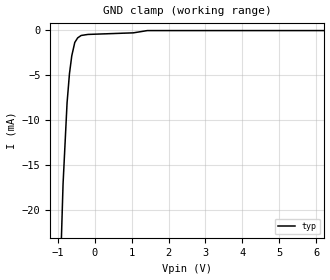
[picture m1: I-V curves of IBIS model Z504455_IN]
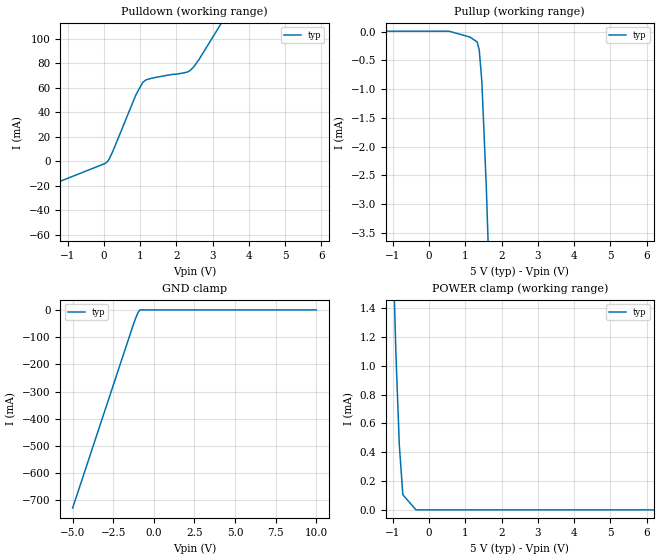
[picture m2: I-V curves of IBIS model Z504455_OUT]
| YOU ARE ONLY AUTHORIZED TO USE THIS SOFTWARE
| ACCORDING TO LICENSOR'S LICENSE RESTRICTIONS.
[IBIS Ver] 3.1
[File Name] sn54ls393j.ibs
[File Rev] 2.0
[Source] Measured and created by ICX Technology
[Date] Friday 7/14/00 9:08:15 AM
[Copyright]
| (C) COPYRIGHT 1993-2000
| MENTOR GRAPHICS CORPORATION
| ICX STANDARD LIBRARY, ICX PROJECT MODELING,
| ICX CUSTOM MODELING, ICX VENDOR MODEL
| ALL RIGHTS RESERVED.
| THE FOLLOWING ARE TRADEMARKS OR SERVICE MARKS OF
| MENTOR GRAPHICS CORPORATION:ICX (R), ICX STANDARD
| LIBRARY(R), ICX PROJECT MODELING(R), ICX CUSTOM
| MODELING(R), qualityIBIS(TM), MODELVIEWER(TM),
| AND MODELEDITOR(TM)
| ALL COPIES OF SOFTWARE, INCLUDING BUT NOT LIMITED TO
| ANY MODIFICATIONS, ENHANCEMENTS OR DERIVATIVE WORKS,
| MUST CONTAIN ALL MENTOR GRAPHICS CORPORATION'S
| NOTICES AND LEGENDS, INCLUDING THOSE EMBEDDED IN
| SOFTWARE AND THOSE AFFIXED TO SOFTWARE MEDIUM
| AND CONTAINER, AS RECEIVED FROM MENTOR GRAPHICS
| CORPORATION.
|  ZAP Model Builder 2.7
[Component] SN54LS393J
[Manufacturer] OnSemiconductor
[Package]
| variable   typ   min   max
R_pkg  .21ohms NA NA
L_pkg  4.543nH NA NA
C_pkg  1.8pF NA NA
[Pin] signal_name  model_name  R_pin  L_pin C_pin
1 _CLKA Z504455_IN .22 6.757n 2.434p
2 CLR Z504455_IN .212 4.757n 1.941p
3 QA Z504455_OUT .204 3.257n 1.448p
4 QB Z504455_OUT .196 2.257n .955p
5 QC Z504455_OUT .204 3.257n 1.448p
6 QD Z504455_OUT .212 4.757n 1.941p
7 GND GND .22 6.757n 2.434p
8 QD Z504455_OUT .22 6.757n 2.434p
9 QC Z504455_OUT .212 4.757n 1.941p
10 QB Z504455_OUT .204 3.257n 1.448p
11 QA Z504455_OUT .196 2.257n .955p
12 CLR Z504455_IN .204 3.257n 1.448p
13 _CLKA Z504455_IN .212 4.757n 1.941p
14 VCC POWER .22 6.757n 2.434p
| Models and submodels in the file (2): Z504455_IN (Input), Z504455_OUT (Output)
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| (C) COPYRIGHT 1993-2000
| MENTOR GRAPHICS CORPORATION
| ICX STANDARD LIBRARY, ICX PROJECT MODELING,
| ICX CUSTOM MODELING, ICX VENDOR MODEL
| ALL RIGHTS RESERVED.
| THE FOLLOWING ARE TRADEMARKS OR SERVICE MARKS OF
| MENTOR GRAPHICS CORPORATION:ICX (R), ICX STANDARD
| LIBRARY(R), ICX PROJECT MODELING(R), ICX CUSTOM
| MODELING(R), qualityIBIS(TM), MODELVIEWER(TM),
| AND MODELEDITOR(TM)
| ALL COPIES OF SOFTWARE, INCLUDING BUT NOT LIMITED TO
| ANY MODIFICATIONS, ENHANCEMENTS OR DERIVATIVE WORKS,
| MUST CONTAIN ALL MENTOR GRAPHICS CORPORATION'S
| NOTICES AND LEGENDS, INCLUDING THOSE EMBEDDED IN
| SOFTWARE AND THOSE AFFIXED TO SOFTWARE MEDIUM
| AND CONTAINER, AS RECEIVED FROM MENTOR GRAPHICS
| CORPORATION.
| Model Application Version 1.89 2/18/99.
[Model] Z504455_IN
Model_type Input
Vinl = 800.0mV
Vinh = 2.000V
C_comp 4.000pF NA NA
| variable typ   min   max
[Voltage Range] 5.000V NA NA
[GND Clamp Reference] 0.000V NA NA
[POWER Clamp Reference] 5.000V NA NA
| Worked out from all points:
|   GND clamp passes 1 mA (typ) near -0.49 V on its own axis
[GND Clamp]
-5V       -579.5mA   NA         NA
-854.5mV  -17.13mA   NA         NA
-746mV    -8.081mA   NA         NA
-681.2mV  -4.823mA   NA         NA
-618.5mV  -2.826mA   NA         NA
-537.1mV  -1.334mA   NA         NA
-459mV    -826.5uA   NA         NA
-364.6mV  -558.1uA   NA         NA
-182.3mV  -443.1uA   NA         NA
1.05V     -265.2uA   NA         NA
1.426V    -14.16uA   NA         NA
10V       -14.16uA   NA         NA
[POWER Clamp]
-5V       0A         NA         NA
10V       0A         NA         NA
| (C) COPYRIGHT 1993-2000
| MENTOR GRAPHICS CORPORATION
| ICX STANDARD LIBRARY, ICX PROJECT MODELING,
| ICX CUSTOM MODELING, ICX VENDOR MODEL
| ALL RIGHTS RESERVED.
| THE FOLLOWING ARE TRADEMARKS OR SERVICE MARKS OF
| MENTOR GRAPHICS CORPORATION:ICX (R), ICX STANDARD
| LIBRARY(R), ICX PROJECT MODELING(R), ICX CUSTOM
| MODELING(R), qualityIBIS(TM), MODELVIEWER(TM),
| AND MODELEDITOR(TM)
| ALL COPIES OF SOFTWARE, INCLUDING BUT NOT LIMITED TO
| ANY MODIFICATIONS, ENHANCEMENTS OR DERIVATIVE WORKS,
| MUST CONTAIN ALL MENTOR GRAPHICS CORPORATION'S
| NOTICES AND LEGENDS, INCLUDING THOSE EMBEDDED IN
| SOFTWARE AND THOSE AFFIXED TO SOFTWARE MEDIUM
| AND CONTAINER, AS RECEIVED FROM MENTOR GRAPHICS
| CORPORATION.
| Model Application Version 1.89 2/18/99.
[Model] Z504455_OUT
Model_type Output
Vref=5.000V
Rref=2.000kohms
Cref=15.00pF
Vmeas=1.300V
C_comp 8.000pF NA NA
| variable typ   min   max
[Voltage Range] 5.000V NA NA
[POWER Clamp Reference] 5.000V NA NA
[Pullup Reference] 5.000V NA NA
[Pulldown Reference] 0.000V NA NA
[GND Clamp Reference] 0.000V NA NA
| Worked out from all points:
|   slope of the pulldown table from 0 to 0.75 V, typ, clamps not added: 16 ohm
|   slope of the pullup table from 0 to 0.75 V, typ, clamps not added: 20.8 kohm
|   GND clamp passes 1 mA (typ) near -0.86 V on its own axis
|   POWER clamp passes 1 mA (typ) near -0.91 V on its own axis
[GND Clamp]
-5V       -728mA     NA         NA
-1.233V   -48.42mA   NA         NA
-1.049V   -19.77mA   NA         NA
-927.7mV  -5.549mA   NA         NA
-850.4mV  0A         NA         NA
10V       0A         NA         NA
[Pulldown]
-5V       -60.83mA   NA         NA
30.25mV   -1.811mA   NA         NA
149.7mV   1.983mA    NA         NA
258.8mV   9.039mA    NA         NA
884mV     54.39mA    NA         NA
1.074V    64.53mA    NA         NA
1.156V    66.38mA    NA         NA
1.289V    67.62mA    NA         NA
2.321V    73.14mA    NA         NA
2.477V    77.1mA     NA         NA
2.632V    83.51mA    NA         NA
10V       438mA      NA         NA
[Pullup]
-5V       8.682uA    NA         NA
547mV     8.682uA    NA         NA
1.124V    -93.58uA   NA         NA
1.323V    -177.8uA   NA         NA
1.382V    -316.4uA   NA         NA
1.454V    -863.6uA   NA         NA
1.577V    -2.696mA   NA         NA
10V       -165.2mA   NA         NA
[POWER Clamp]
-5V       43.29mA    NA         NA
-1.029V   2.071mA    NA         NA
-917mV    1.078mA    NA         NA
-825mV    454.8uA    NA         NA
-727mV    105.1uA    NA         NA
-363.5mV  0A         NA         NA
10V       0A         NA         NA
[Ramp]
| variable typ min max
dV/dt_r 1.879/8.818n NA NA
dV/dt_f 1.879/2.034n NA NA
R_load = 500.0Ohms
